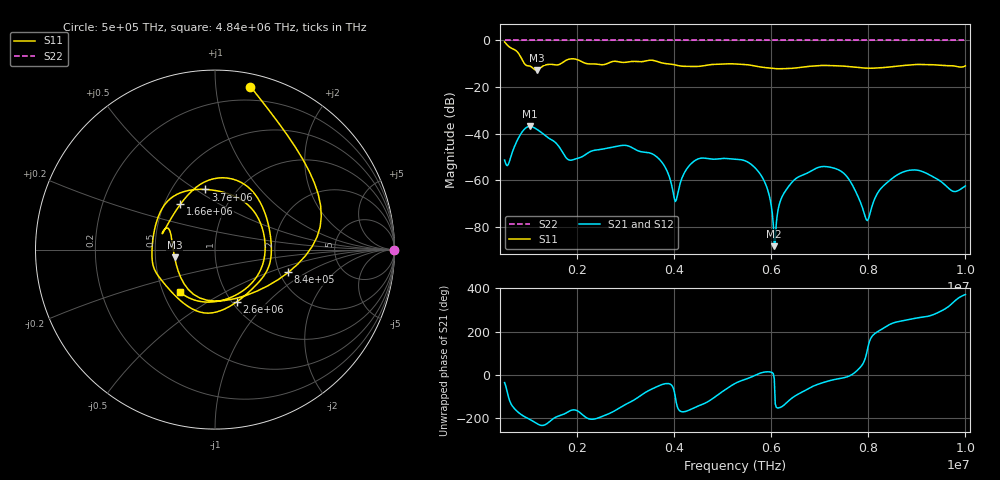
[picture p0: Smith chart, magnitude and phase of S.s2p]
! Created with skrf (http://scikit-rf.org).
# GHz S RI R 50.0
!freq ReS11 ImS11 ReS21 ImS21 ReS12 ImS12 ReS22 ImS22
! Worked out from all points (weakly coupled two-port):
!   476 points, 5e+05 THz to 1e+07 THz, reference 50 ohm
!   highest |S21| = -36.84 dB at 1.02e+06 THz (marker M1); lowest = -88.2 dB at 6.06e+06 THz (marker M2)
!   lowest |S11| = -12.8 dB at 1.16e+06 THz (marker M3), VSWR 1.59, Z = 31.5 - j2.92 ohm
!   |S11| at or under -10 dB: 9.119e+05 THz to 1.656e+06 THz (7.444e+05 THz wide, 58 % of centre); 3.857e+06 THz to 5.139e+06 THz (1.282e+06 THz wide, 28.5 % of centre); 5.147e+06 THz to end of sweep (the widest 3 of 4)
!   |S22| runs from 0.0 to 0.0 dB; largest |S21 - S12| = 0
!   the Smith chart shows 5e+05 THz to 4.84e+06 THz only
!   S11 on the Smith chart (normalised r, x): 5e+05 THz: 0.09, +1.24; 8.4e+05 THz: 2.23, -0.69; 1.66e+06 THz: 0.60, +0.34; 2.6e+06 THz: 1.06, -0.68; 3.7e+06 THz: 0.72, +0.55; 4.84e+06 THz: 0.61, -0.32
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5e8  0.1974 0.9086  0.00224 -0.00156  0.00224 -0.00156  1 0
8.4e8  0.4085 -0.1269  -0.0102 0.000336  -0.0102 0.000336  1 0
1.02e9  -0.0862 -0.2689  -0.0131 0.00593  -0.0131 0.00593  1 0
1.16e9  -0.2248 -0.0439  -0.00921 0.00854  -0.00921 0.00854  1 0
1.66e9  -0.193 0.2524  -0.0046 0.000396  -0.0046 0.000396  1 0
2.1e9  0.2761 0.2092  -0.00323 9.24e-05  -0.00323 9.24e-05  1 0
2.6e9  0.1235 -0.2896  -0.00487 0.00023  -0.00487 0.00023  1 0
3.16e9  -0.345 -0.0871  -0.00213 -0.00434  -0.00213 -0.00434  1 0
3.68e9  -0.078 0.3359  0.00189 -0.00222  0.00189 -0.00222  1 0
3.7e9  -0.0542 0.3353  0.00187 -0.00205  0.00187 -0.00205  1 0
4.02e9  0.237 0.182  -7.08e-05 -0.000347  -7.08e-05 -0.000347  1 0
4.34e9  0.2363 -0.1454  -0.00209 -0.000848  -0.00209 -0.000848  1 0
4.84e9  -0.1952 -0.2373  -0.000511 -0.00281  -0.000511 -0.00281  1 0
5.26e9  -0.2906 0.1178  0.00225 -0.00175  0.00225 -0.00175  1 0
5.8e9  0.1438 0.2259  0.00121 0.000226  0.00121 0.000226  1 0
6.06e9  0.2499 0.0154  3.72e-05 -1.17e-05  3.72e-05 -1.17e-05  1 0
6.84e9  -0.2591 -0.1115  0.000972 -0.00132  0.000972 -0.00132  1 0
7.48e9  0.0355 0.2801  0.00142 -0.000339  0.00142 -0.000339  1 0
7.98e9  0.2351 -0.0977  -6.27e-05 0.000123  -6.27e-05 0.000123  1 0
8.42e9  -0.1302 -0.2354  -0.000615 -0.000741  -0.000615 -0.000741  1 0
9.16e9  -0.000537 0.3047  -7.03e-05 -0.00148  -7.03e-05 -0.00148  1 0
1e10  -0.0225 -0.2845  0.000752 0.000133  0.000752 0.000133  1 0
